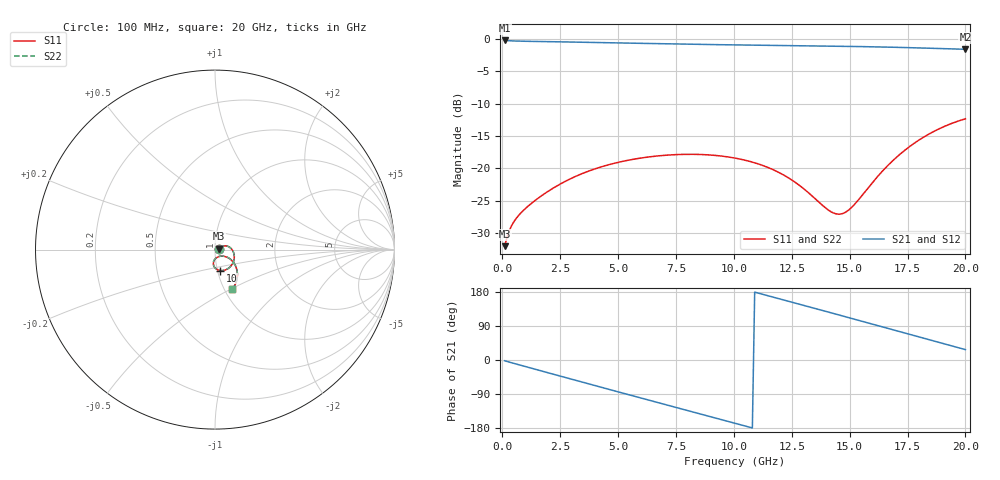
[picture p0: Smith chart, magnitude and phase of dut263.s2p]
! Touchstone file exported from HFSS 2026.1.0
!  File:  C:/ffzhzh/LocalFiles/Ansys_Project_Files/temp_train_TSV_RDL_263_1783069689_46780.aedt
!  Generated:  05:17:42 PM Jul  3, 2026
!  Design:  TSV_RDL
!  Project:  temp_train_TSV_RDL_263_1783069689_46780
! Variables:
!  h_bsmrdl = 3.66um
!  h_ox = 20um
!  h_rdl = 5um
!  h_sub = 77.03um
!  h_tmrdl = 3.73um
!  h_tsv = 77.03um
!  h_via = 3um
!  l_bsmrdl = 335.5um
!  l_sub = 5370.05um
!  l_tmrdl = 960.49um
!  m_sub = 200um
!  pitch = 33.28um
!  r_tsv = 7.24um
!  s_tmrdl = 10um
!  w_bsmrdl = 10.54um
!  w_sub = 500um
!  w_tmrdl = 29.99um
!  x_tsv_center1 = 975.485um
!  x_tsv_center2 = 1321.525um
!  x_tsv_center3 = 2312.005um
!  x_tsv_center4 = 2658.045um
!  x_tsv_center5 = 3648.525um
!  x_tsv_center6 = 3994.565um
# GHz S MA R 50.000000
! Terminal data exported
! Port[1] = TM_RDL1_1_T1
! Port[2] = TM_RDL5_1_T1
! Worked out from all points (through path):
!   200 points, 100 MHz to 20 GHz, reference 50 ohm
!   highest |S21| = -0.21 dB at 100 MHz (marker M1); lowest = -1.6 dB at 20 GHz (marker M2)
!   group delay of S21, straight-line fit = 46 ps
!   lowest |S11| = -32.0 dB at 100 MHz (marker M3), VSWR 1.05, Z = 52.5 + j0.628 ohm
!   |S11| at or under -10 dB: start of sweep to end of sweep
!   |S22| runs from -32.0 to -12.3 dB; largest |S21 - S12| = 3.8e-14
!   S11 on the Smith chart (normalised r, x): 100 MHz: 1.05, +0.01; 10 GHz: 1.03, -0.24; 20 GHz: 1.09, -0.51
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0.1  0.02499 13.8  0.9759 -1.9  0.9759 -1.9  0.02499 13.8
! Gamma 0 0 0 0
! Port Impedance 50 0 50 0
0.4  0.03598 23.1  0.9688 -7.2  0.9688 -7.2  0.03598 23.1
1  0.04893 22.9  0.9617 -17.3  0.9617 -17.3  0.04893 22.9
2.2  0.07032 16.1  0.954 -37.4  0.954 -37.4  0.07034 16.1
3.5  0.09184 2.5  0.9452 -59.1  0.9452 -59.1  0.09186 2.5
4.3  0.103 -7.2  0.9395 -72.4  0.9395 -72.4  0.103 -7.2
5.1  0.1123 -17.2  0.9336 -85.7  0.9336 -85.7  0.1123 -17.2
5.9  0.1195 -27.2  0.9278 -98.9  0.9278 -98.9  0.1195 -27.3
6.8  0.1252 -38.3  0.9214 -113.7  0.9214 -113.7  0.1252 -38.4
8.5  0.1281 -58.6  0.9103 -141.6  0.9103 -141.6  0.1281 -58.7
10  0.1205 -75.5  0.9017 -166.2  0.9017 -166.2  0.1205 -75.7
10.1  0.1196 -76.5  0.9011 -167.8  0.9011 -167.8  0.1196 -76.7
10.9  0.1104 -84.7  0.8971 179.1  0.8971 179.1  0.1103 -84.9
11.7  0.09754 -91.7  0.8933 165.9  0.8933 165.9  0.09746 -91.9
13.4  0.06071 -94.6  0.8858 137.8  0.8858 137.8  0.0604 -95.1
14.2  0.0461 -79.0  0.8821 124.5  0.8821 124.5  0.04557 -79.4
14.7  0.0447 -60.8  0.8795 116.2  0.8795 116.2  0.04407 -60.9
15.7  0.06713 -34.9  0.8736 99.5  0.8736 99.5  0.06661 -34.6
16.7  0.1074 -32.5  0.8663 82.7  0.8663 82.7  0.107 -32.3
18.2  0.1745 -44.9  0.8525 57.5  0.8525 57.5  0.1742 -44.7
19.1  0.2113 -55.4  0.8431 42.4  0.8431 42.4  0.2111 -55.3
20  0.2418 -66.7  0.8338 27.4  0.8338 27.4  0.2416 -66.6
